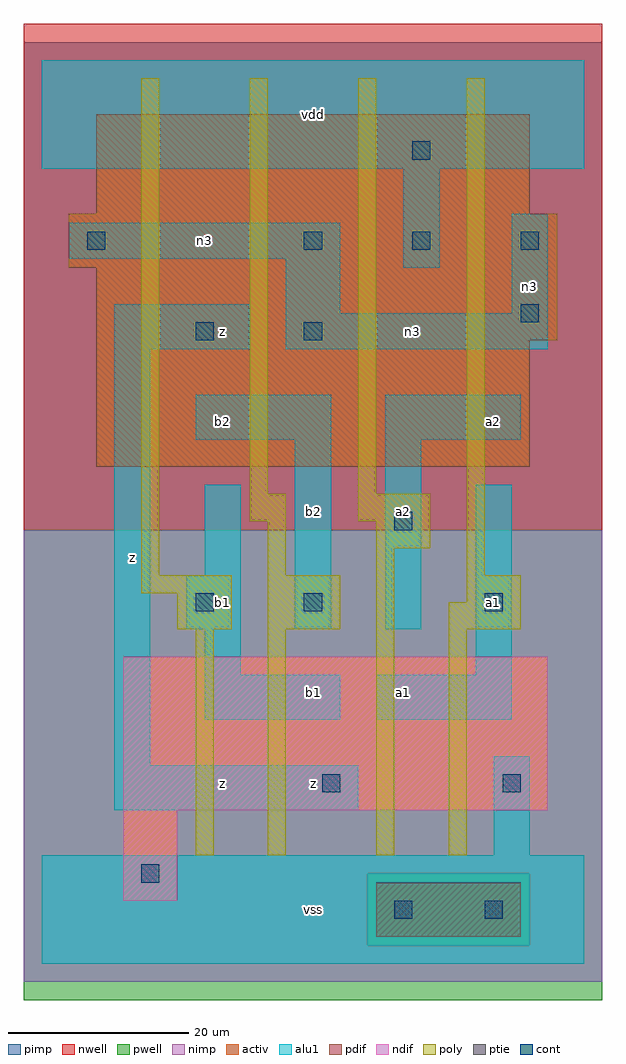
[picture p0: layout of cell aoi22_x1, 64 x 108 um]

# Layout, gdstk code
import gdstk
lib = gdstk.Library(unit=1e-6, precision=1e-09)
def R(c, l, rs):  # rectangles x0, y0, x1, y1
    for r in rs: c.add(gdstk.rectangle(r[:2], r[2:], *l))
def A(c, l, x, y, w, h, nx, ny, dx, dy):  # array of equal rectangles
    R(c, l, [(x+i*dx, y+j*dy, x+i*dx+w, y+j*dy+h) for i in range(nx) for j in range(ny)])
ndif = (3, 0)
pdif = (4, 0)
ptie = (6, 0)
cont = (25, 0)
pwell = (41, 0)
nwell = (42, 0)
activ = (43, 0)
pimp = (44, 0)
nimp = (45, 0)
poly = (46, 0)
alu1 = (49, 0)

aoi22_x1 = lib.new_cell('aoi22_x1')
R(aoi22_x1, ndif, [(9,7,15,17), (9,17,56,34)])
R(aoi22_x1, pdif, [(6,55,54,69), (6,69,57,77), (3,77,57,83), (6,83,54,94)])
R(aoi22_x1, ptie, [(37,3,53,9)])
A(aoi22_x1, cont, 29, 79, 2, 2, 3, 1, 12, 0)
R(aoi22_x1, cont, [(39,5,41,7), (49,5,51,7), (11,9,13,11), (31,19,33,21), (51,19,53,21), (17,39,19,41), (29,39,31,41), (49,39,51,41), (39,48,41,50), (17,69,19,71), (29,69,31,71), (53,71,55,73), (5,79,7,81), (41,89,43,91)])
R(aoi22_x1, pwell, [(-2,-4,62,48)])
R(aoi22_x1, nwell, [(-2,48,62,104)])
R(aoi22_x1, activ, [(37,3,53,9), (9,7,15,17), (9,17,56,34), (6,55,54,69), (6,69,57,77), (3,77,57,83), (6,83,54,94)])
R(aoi22_x1, pimp, [(36,2,54,10), (-2,48,62,102)])
R(aoi22_x1, nimp, [(-2,-2,62,2), (-2,2,36,10), (54,2,62,10), (-2,10,62,48)])
R(aoi22_x1, poly, [(17,12,19,37), (25,12,27,37), (37,12,39,46), (45,12,47,37), (15,37,21,41), (25,37,33,43), (45,37,53,40), (47,40,53,43), (11,41,21,43), (11,43,13,98), (25,43,27,49), (47,43,49,98), (37,46,43,49), (23,49,27,52), (35,49,43,52), (23,52,25,98), (35,52,37,98)])
R(aoi22_x1, alu1, [(0,0,60,12), (50,12,54,23), (8,17,35,22), (8,22,12,68), (18,27,33,32), (37,27,52,32), (18,32,22,37), (48,32,52,53), (16,37,22,43), (28,37,32,58), (38,37,42,58), (18,43,22,53), (17,58,32,63), (38,58,53,63), (8,68,23,73), (27,68,56,72), (27,72,33,78), (52,72,56,83), (40,77,44,88), (3,78,33,82), (0,88,60,100)])
aoi22_x1.add(gdstk.Label('z', (20,20), layer=49, texttype=0))
aoi22_x1.add(gdstk.Label('b1', (20,40), layer=49, texttype=0))
aoi22_x1.add(gdstk.Label('z', (10,45), layer=49, texttype=0))
aoi22_x1.add(gdstk.Label('b2', (20,60), layer=49, texttype=0))
aoi22_x1.add(gdstk.Label('z', (20,70), layer=49, texttype=0))
aoi22_x1.add(gdstk.Label('vss', (30,6), layer=49, texttype=0))
aoi22_x1.add(gdstk.Label('z', (30,20), layer=49, texttype=0))
aoi22_x1.add(gdstk.Label('b1', (30,30), layer=49, texttype=0))
aoi22_x1.add(gdstk.Label('b2', (30,50), layer=49, texttype=0))
aoi22_x1.add(gdstk.Label('n3', (18,80), layer=49, texttype=0))
aoi22_x1.add(gdstk.Label('vdd', (30,94), layer=49, texttype=0))
aoi22_x1.add(gdstk.Label('a1', (40,30), layer=49, texttype=0))
aoi22_x1.add(gdstk.Label('a2', (40,50), layer=49, texttype=0))
aoi22_x1.add(gdstk.Label('a1', (50,40), layer=49, texttype=0))
aoi22_x1.add(gdstk.Label('a2', (50,60), layer=49, texttype=0))
aoi22_x1.add(gdstk.Label('n3', (41,70), layer=49, texttype=0))
aoi22_x1.add(gdstk.Label('n3', (54,75), layer=49, texttype=0))

lib.write_gds('aoi22_x1.gds')
